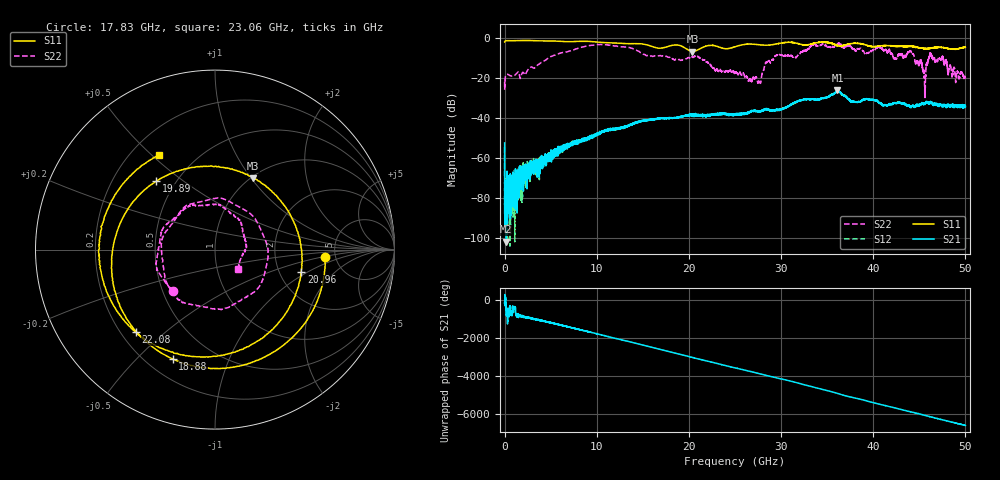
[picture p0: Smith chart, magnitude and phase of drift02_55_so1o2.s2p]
!Created with skrf (http://scikit-rf.org).
# Hz S RI R 50.0
!freq ReS11 ImS11 ReS21 ImS21 ReS12 ImS12 ReS22 ImS22
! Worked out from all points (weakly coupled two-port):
!   10001 points, 300 kHz to 50 GHz, reference 50 ohm
!   highest |S21| = -26.23 dB at 36.12 GHz (marker M1); lowest = -101.6 dB at 190.3 MHz (marker M2)
!   lowest |S11| = -6.9 dB at 20.38 GHz (marker M3), VSWR 2.64, Z = 51.1 + j51 ohm
!   |S11| at or under -10 dB: nowhere
!   |S22| runs from -30.6 to -2.6 dB; largest |S21 - S12| = 0.0052
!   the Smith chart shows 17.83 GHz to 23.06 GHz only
!   S11 on the Smith chart (normalised r, x): 17.83 GHz: 4.13, -0.55; 18.88 GHz: 0.30, -0.64; 19.89 GHz: 0.39, +0.40; 20.96 GHz: 2.64, -0.88; 22.08 GHz: 0.26, -0.40; 23.06 GHz: 0.31, +0.53
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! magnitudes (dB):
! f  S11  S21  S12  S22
! 300 kHz  -2.1  -52.4  -54.3  -21.9
! 190.3 MHz  -1.4  -101.6  -78.9  -18.3
! 8.335 GHz  -1.7  -50.7  -50.6  -4.7
! 16.67 GHz  -5.2  -40.3  -40.3  -9.0
! 17.83 GHz  -4.2  -40.0  -39.9  -9.6
! 18.88 GHz  -3.7  -39.7  -39.6  -10.9
! 19.89 GHz  -6.0  -38.7  -38.6  -10.0
! 20.38 GHz  -6.9  -38.5  -38.7  -9.7
! 20.96 GHz  -6.1  -38.6  -38.6  -9.4
! 22.08 GHz  -3.9  -39.0  -39.1  -12.4
! 23.06 GHz  -4.3  -38.3  -38.3  -15.6
! 25 GHz  -4.5  -38.2  -38.3  -17.8
! 27.63 GHz  -3.5  -36.7  -36.8  -21.3
! 28.43 GHz  -3.7  -35.5  -35.5  -12.2
! 29.54 GHz  -3.0  -36.2  -36.2  -8.8
! 33.34 GHz  -3.1  -30.6  -30.6  -3.8
! 36.12 GHz  -3.8  -26.2  -26.9  -3.1
! 41.67 GHz  -3.9  -33.3  -33.3  -6.1
! 44.15 GHz  -4.2  -34.1  -34.3  -7.1
! 45.5 GHz  -5.3  -32.9  -33.0  -16.3
! 46.25 GHz  -5.2  -32.1  -32.1  -8.1
! 50 GHz  -4.8  -34.3  -34.2  -19.6
